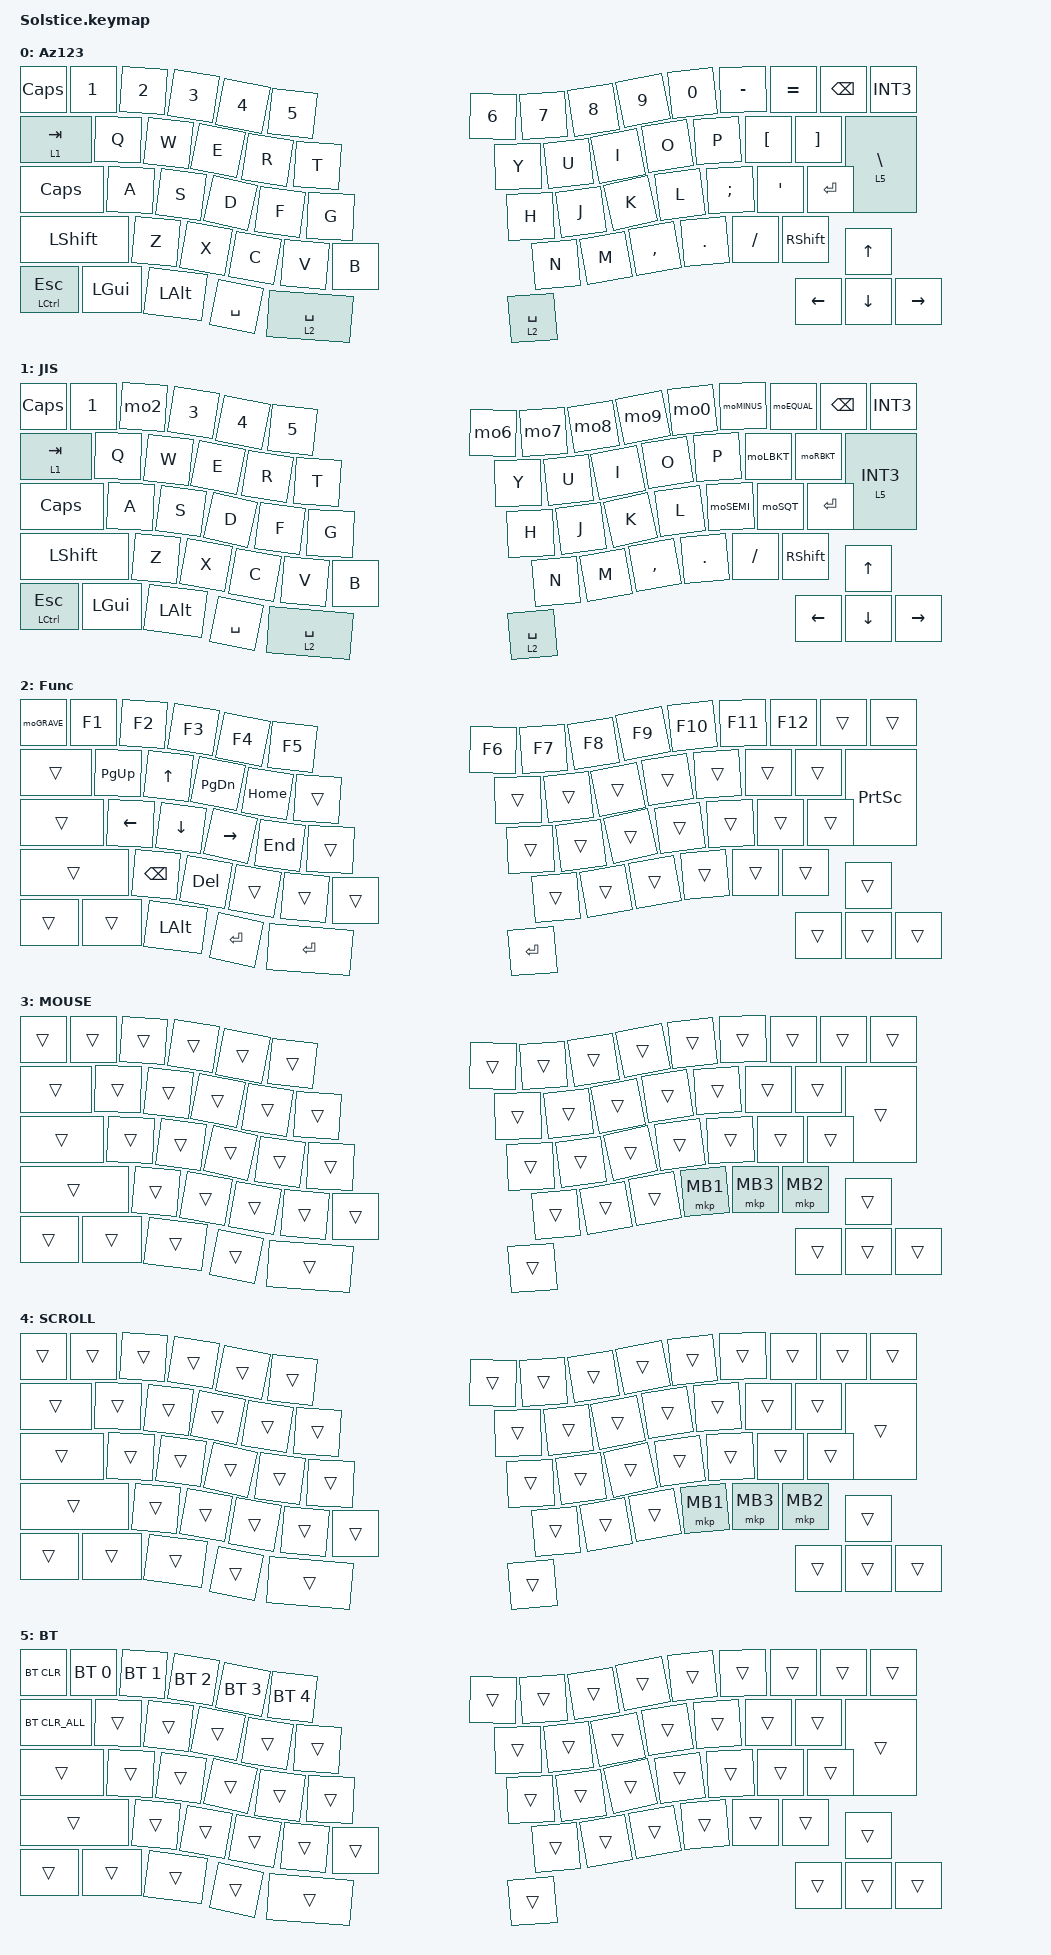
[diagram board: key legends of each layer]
#include <behaviors.dtsi>
#include <dt-bindings/zmk/keys.h>
#include <dt-bindings/zmk/pointing.h>
#include <dt-bindings/zmk/bt.h>
#include <behaviors/rgbled_widget.dtsi>

#define JIS 1
#define MOUSE 3
#define SCROLL 4
#define BT 5

&mt {
   flavor = "tap-preferred";
};

/ {
    macros {
        to_layer_0: to_layer_0 {
            compatible = "zmk,behavior-macro-one-param";
            #binding-cells = <1>;
            bindings = <&to 0 &macro_param_1to1 &kp MACRO_PLACEHOLDER>;
        };
    };

    behaviors {
        lt_to_layer_0: lt_to_layer_0 {
            compatible = "zmk,behavior-hold-tap";
            bindings = <&mo>, <&to_layer_0>;

            #binding-cells = <2>;
            tapping-term-ms = <200>;
        };
        toJIS: toJIS {
            compatible = "zmk,behavior-hold-tap";
            #binding-cells = <2>;
            tapping-term-ms = <200>;
            quick-tap-ms = <0>;
            bindings = <&tog>, <&kp>;
        };
        mo2: mo2 {
            compatible = "zmk,behavior-mod-morph";
            #binding-cells = <0>;
            bindings = <&kp N2>, <&kp LBKT>;
            mods = <(MOD_LSFT|MOD_RSFT)>;
        };
        mo6: mo6 {
            compatible = "zmk,behavior-mod-morph";
            #binding-cells = <0>;
            bindings = <&kp N6>, <&kp EQUAL>;
            mods = <(MOD_LSFT|MOD_RSFT)>;
        };
        mo7: mo7 {
            compatible = "zmk,behavior-mod-morph";
            #binding-cells = <0>;
            bindings = <&kp N7>, <&kp LS(N6)>;
            mods = <(MOD_LSFT|MOD_RSFT)>;
        };
        mo8: mo8 {
            compatible = "zmk,behavior-mod-morph";
            #binding-cells = <0>;
            bindings = <&kp N8>, <&kp LS(SQT)>;
            mods = <(MOD_LSFT|MOD_RSFT)>;
        };
        mo9: mo9 {
            compatible = "zmk,behavior-mod-morph";
            #binding-cells = <0>;
            bindings = <&kp N9>, <&kp LS(N8)>;
            mods = <(MOD_LSFT|MOD_RSFT)>;
        };
        mo0: mo0 {
            compatible = "zmk,behavior-mod-morph";
            #binding-cells = <0>;
            bindings = <&kp N0>, <&kp LS(N9)>;
            mods = <(MOD_LSFT|MOD_RSFT)>;
        };
        moMINUS: moMINUS {
            compatible = "zmk,behavior-mod-morph";
            #binding-cells = <0>;
            bindings = <&kp MINUS>, <&kp LS(INT_RO)>;
            mods = <(MOD_LSFT|MOD_RSFT)>;
        };
        moEQUAL: moEQUAL {
            compatible = "zmk,behavior-mod-morph";
            #binding-cells = <0>;
            bindings = <&kp LS(MINUS)>, <&kp COLON>;
            mods = <(MOD_LSFT|MOD_RSFT)>;
        };
        moLBKT: moLBKT {
            compatible = "zmk,behavior-mod-morph";
            #binding-cells = <0>;
            bindings = <&kp RBKT>, <&kp LS(RBRC)>;
            mods = <(MOD_LSFT|MOD_RSFT)>;
        };
        moRBKT: moRBKT {
            compatible = "zmk,behavior-mod-morph";
            #binding-cells = <0>;
            bindings = <&kp BSLH>, <&kp LS(BSLH)>;
            mods = <(MOD_LSFT|MOD_RSFT)>;
        };
        moSEMI: moSEMI {
            compatible = "zmk,behavior-mod-morph";
            #binding-cells = <0>;
            bindings = <&kp SEMI>, <&kp SQT>;
            mods = <(MOD_LSFT|MOD_RSFT)>;
        };
        moSQT: moSQT {
            compatible = "zmk,behavior-mod-morph";
            #binding-cells = <0>;
            bindings = <&kp LS(N7)>, <&kp LS(N2)>;
            mods = <(MOD_LSFT|MOD_RSFT)>;
        };
        moGRAVE: moGRAVE {
            compatible = "zmk,behavior-mod-morph";
            #binding-cells = <0>;
            bindings = <&kp LS(LBRC)>, <&kp LS(EQUAL)>;
            mods = <(MOD_LSFT|MOD_RSFT)>;
        };
    }; 
 
   keymap {
        compatible = "zmk,keymap";
        default_layer {
            label = "Az123";
            bindings = <
&kp CAPS       &kp N1    &kp N2     &kp N3     &kp N4     &kp N5       &kp N6    &kp N7     &kp N8     &kp N9     &kp N0    &kp MINUS  &kp EQUAL      &kp BKSP  &kp INT3
&toJIS 1 TAB   &kp Q     &kp W      &kp E      &kp R      &kp T        &kp Y     &kp U      &kp I      &kp O      &kp P     &kp LBKT   &kp RBKT       &lt 5 BSLH
&kp CAPS       &kp A     &kp S      &kp D      &kp F      &kp G        &kp H     &kp J      &kp K      &kp L      &kp SEMI  &kp SQT                   &kp ENTER
&kp LSHFT      &kp Z     &kp X      &kp C      &kp V      &kp B        &kp N     &kp M      &kp COMMA  &kp DOT    &kp FSLH  &kp RSHFT                 &kp UP
&mt LCTL ESC   &kp LGUI  &kp LALT   &kp SPACE  &lt 2 SPACE             &lt 2 SPACE                                                           &kp LEFT &kp DOWN &kp RIGHT
>;
       };

        jis_layer {
           label = "JIS";
           bindings = <
&kp CAPS       &kp N1    &mo2       &kp N3     &kp N4     &kp N5       &mo6      &mo7       &mo8       &mo9       &mo0      &moMINUS   &moEQUAL        &kp BKSP  &kp INT3
&toJIS 1 TAB   &kp Q     &kp W      &kp E      &kp R      &kp T        &kp Y     &kp U      &kp I      &kp O      &kp P     &moLBKT    &moRBKT         &lt 5 INT3
&kp CAPS       &kp A     &kp S      &kp D      &kp F      &kp G        &kp H     &kp J      &kp K      &kp L      &moSEMI   &moSQT                     &kp ENTER
&kp LSHFT      &kp Z     &kp X      &kp C      &kp V      &kp B        &kp N     &kp M      &kp COMMA  &kp DOT    &kp FSLH  &kp RSHFT                  &kp UP
&mt LCTL ESC   &kp LGUI  &kp LALT   &kp SPACE  &lt 2 SPACE             &lt 2 SPACE                                                        &kp LEFT &kp DOWN &kp RIGHT
>;
       };

       function_layer {
           label = "Func";
           bindings = <
&moGRAVE      &kp F1     &kp F2     &kp F3     &kp F4     &kp F5       &kp F6    &kp F7     &kp F8     &kp F9     &kp F10   &kp F11    &kp F12         &trans   &trans
&trans        &kp PG_UP  &kp UP     &kp PG_DN  &kp HOME   &trans       &trans    &trans     &trans     &trans     &trans    &trans     &trans          &kp PSCRN
&trans        &kp LEFT   &kp DOWN   &kp RIGHT  &kp END    &trans       &trans    &trans     &trans     &trans     &trans    &trans                     &trans
&trans        &kp BKSP   &kp DEL    &trans     &trans     &trans       &trans    &trans     &trans     &trans     &trans    &trans                     &trans
&trans        &trans     &kp LALT   &kp ENTER  &kp ENTER               &kp ENTER                                                              &trans   &trans   &trans
>;
       };

       mouse_layer {
           label = "MOUSE";
           bindings = <
&trans        &trans     &trans     &trans     &trans     &trans       &trans    &trans     &trans     &trans     &trans    &trans     &trans          &trans   &trans
&trans        &trans     &trans     &trans     &trans     &trans       &trans    &trans     &trans     &trans     &trans    &trans     &trans          &trans
&trans        &trans     &trans     &trans     &trans     &trans       &trans    &trans     &trans     &trans     &trans    &trans                     &trans
&trans        &trans     &trans     &trans     &trans     &trans       &trans    &trans     &trans     &mkp MB1   &mkp MB3  &mkp MB2                   &trans
&trans        &trans     &trans                &trans     &trans       &trans                                                                 &trans   &trans   &trans
>;
       };

       scroll_layer {
           label = "SCROLL";
           bindings = <
&trans        &trans     &trans     &trans     &trans     &trans       &trans    &trans     &trans     &trans     &trans    &trans     &trans          &trans   &trans
&trans        &trans     &trans     &trans     &trans     &trans       &trans    &trans     &trans     &trans     &trans    &trans     &trans          &trans
&trans        &trans     &trans     &trans     &trans     &trans       &trans    &trans     &trans     &trans     &trans    &trans                     &trans
&trans        &trans     &trans     &trans     &trans     &trans       &trans    &trans     &trans     &mkp MB1   &mkp MB3  &mkp MB2                   &trans
&trans        &trans     &trans                &trans     &trans       &trans                                                                 &trans   &trans   &trans
>;
       };

        bt_layer {
           label = "BT";
           bindings = <
&bt BT_CLR     &bt BT_SEL 0 &bt BT_SEL 1 &bt BT_SEL 2 &bt BT_SEL 3 &bt BT_SEL 4  &trans  &trans  &trans  &trans  &trans  &trans       &trans         &trans   &trans
&bt BT_CLR_ALL &trans       &trans       &trans       &trans       &trans        &trans  &trans  &trans  &trans  &trans  &trans       &trans         &trans
&trans         &trans       &trans       &trans       &trans       &trans        &trans  &trans  &trans  &trans  &trans  &trans                      &trans
&trans         &trans       &trans       &trans       &trans       &trans        &trans  &trans  &trans  &trans  &trans  &trans                      &trans
&trans         &trans       &trans       &trans       &trans                     &trans                                                     &trans   &trans   &trans
>;
        };
    };
};

/ {
    aliases {
        led-red = &led0;
        led-green = &led1;
        led-blue = &led2;
    };

    leds {
        compatible = "gpio-leds";
        status = "okay";
        led0: led_0 {
            gpios = <&gpio0 26 GPIO_ACTIVE_LOW>;  // red LED, connected to P0.26
        };
        led1: led_1 {
            gpios = <&gpio0 30 GPIO_ACTIVE_LOW>;  // green LED, connected to P0.30
        };
        led2: led_2 {
            gpios = <&gpio0 6 GPIO_ACTIVE_LOW>;  // blue LED, connected to P0.06
        };
    };
};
